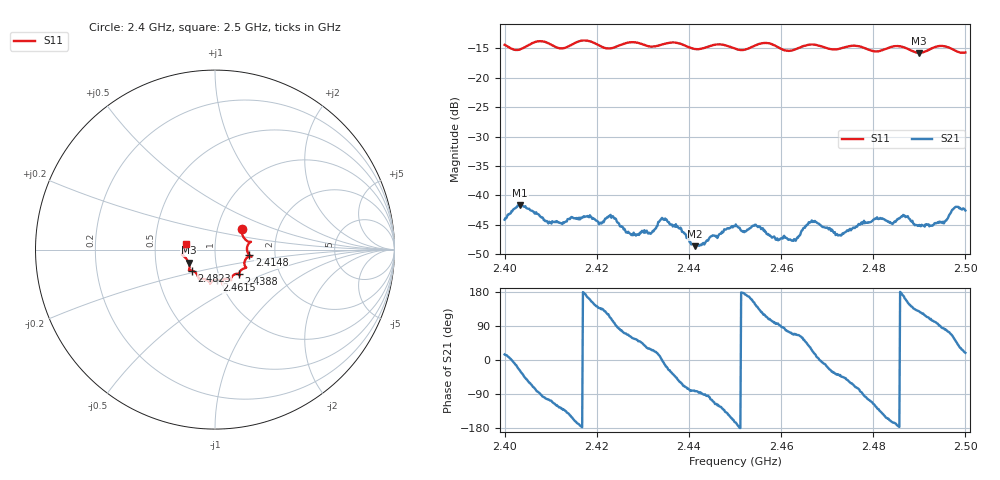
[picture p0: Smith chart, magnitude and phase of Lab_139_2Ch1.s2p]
# Hz S RI R 50
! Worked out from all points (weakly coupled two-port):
!   601 points, 2.4 GHz to 2.5 GHz, reference 50 ohm
!   highest |S21| = -41.69 dB at 2.4033 GHz (marker M1); lowest = -48.6 dB at 2.4413 GHz (marker M2)
!   lowest |S11| = -15.7 dB at 2.4898 GHz (marker M3), VSWR 1.39, Z = 36.9 - j5.49 ohm
!   |S11| at or under -10 dB: start of sweep to end of sweep
!   S12 and S22 are empty: the file has one direction only
!   S11 on the Smith chart (normalised r, x): 2.4 GHz: 1.31, +0.32; 2.4148 GHz: 1.47, -0.09; 2.4388 GHz: 1.25, -0.36; 2.4615 GHz: 0.96, -0.34; 2.4823 GHz: 0.75, -0.18; 2.5 GHz: 0.72, +0.04
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2.4e9  0.1514 0.1167  0.00601 0.00157  0 0  0 0
2.403333e9  0.1625 0.0637  0.00728 -0.00385  0 0  0 0
2.409667e9  0.1917 0.0374  -0.00158 -0.00577  0 0  0 0
2.414833e9  0.1913 -0.0311  -0.00584 -0.00273  0 0  0 0
2.416667e9  0.2034 -0.0395  -0.00637 -0.000458  0 0  0 0
2.423167e9  0.1643 -0.0698  -0.00204 0.00612  0 0  0 0
2.428e9  0.174 -0.1006  0.00265 0.00402  0 0  0 0
2.433333e9  0.1361 -0.1299  0.00573 0.00153  0 0  0 0
2.438833e9  0.1319 -0.1372  0.00176 -0.00452  0 0  0 0
2.441333e9  0.1082 -0.1385  0.000488 -0.00367  0 0  0 0
2.45e9  0.0725 -0.1615  -0.00526 -0.00148  0 0  0 0
2.456667e9  0.0438 -0.1933  -0.00205 0.00445  0 0  0 0
2.4615e9  0.0112 -0.1693  0.00104 0.00408  0 0  0 0
2.466667e9  -0.027 -0.1903  0.00548 0.00274  0 0  0 0
2.472667e9  -0.067 -0.1636  0.00347 -0.00302  0 0  0 0
2.482333e9  -0.1278 -0.118  -0.0052 -0.00351  0 0  0 0
2.483333e9  -0.1376 -0.1167  -0.00544 -0.00252  0 0  0 0
2.487e9  -0.1431 -0.1088  -0.00616 0.00219  0 0  0 0
2.489833e9  -0.1462 -0.0724  -0.00347 0.0043  0 0  0 0
2.494667e9  -0.1846 -0.028  0.000233 0.00596  0 0  0 0
2.497833e9  -0.1698 -0.00708  0.00499 0.00622  0 0  0 0
2.5e9  -0.1617 0.0297  0.00704 0.00241  0 0  0 0
